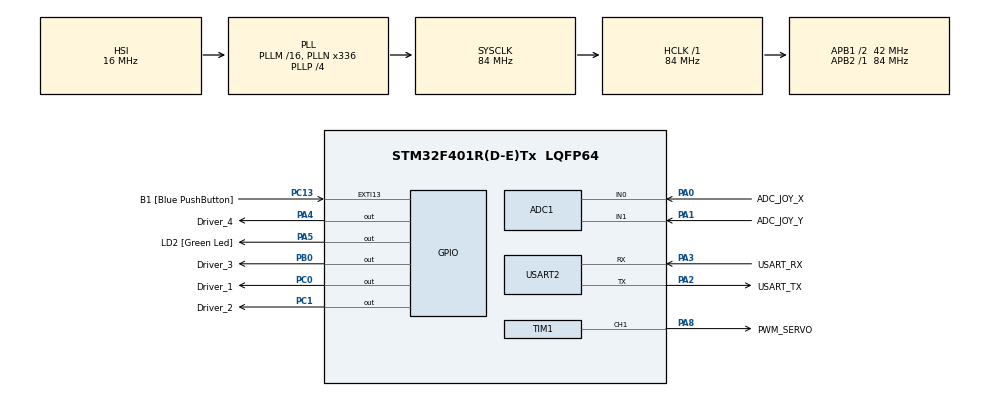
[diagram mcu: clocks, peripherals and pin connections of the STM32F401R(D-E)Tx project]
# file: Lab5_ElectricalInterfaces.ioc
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ADC1.Channel-0\#ChannelRegularConversion=ADC_CHANNEL_0
ADC1.Channel-1\#ChannelRegularConversion=ADC_CHANNEL_1
ADC1.ContinuousConvMode=ENABLE
ADC1.NbrOfConversion=2
ADC1.NbrOfConversionFlag=1
ADC1.Rank-0\#ChannelRegularConversion=1
ADC1.Rank-1\#ChannelRegularConversion=2
ADC1.SamplingTime-0\#ChannelRegularConversion=ADC_SAMPLETIME_480CYCLES
ADC1.SamplingTime-1\#ChannelRegularConversion=ADC_SAMPLETIME_480CYCLES
ADC1.ScanConvMode=ENABLE
ADC1.master=1
Mcu.Family=STM32F4
Mcu.Name=STM32F401R(D-E)Tx
Mcu.Package=LQFP64
NVIC.ADC_IRQn=true\:0\:0\:false\:false\:true\:true\:true
NVIC.PriorityGroup=NVIC_PRIORITYGROUP_0
PA0-WKUP.GPIO_Label=ADC_JOY_X
PA0-WKUP.Signal=ADCx_IN0
PA1.GPIO_Label=ADC_JOY_Y
PA1.Signal=ADCx_IN1
PA13.GPIO_Label=TMS
PA13.Mode=Serial_Wire
PA13.Signal=SYS_JTMS-SWDIO
PA14.GPIO_Label=TCK
PA14.Mode=Serial_Wire
PA14.Signal=SYS_JTCK-SWCLK
PA2.GPIO_Label=USART_TX
PA2.GPIO_Mode=GPIO_MODE_AF_PP
PA2.GPIO_PuPd=GPIO_NOPULL
PA2.GPIO_Speed=GPIO_SPEED_FREQ_LOW
PA2.Mode=Asynchronous
PA2.Signal=USART2_TX
PA3.GPIO_Label=USART_RX
PA3.GPIO_Mode=GPIO_MODE_AF_PP
PA3.GPIO_PuPd=GPIO_NOPULL
PA3.GPIO_Speed=GPIO_SPEED_FREQ_LOW
PA3.Mode=Asynchronous
PA3.Signal=USART2_RX
PA4.GPIO_Label=Driver_4
PA4.Signal=GPIO_Output
PA5.GPIO_Label=LD2 [Green Led]
PA5.GPIO_Mode=GPIO_MODE_OUTPUT_PP
PA5.GPIO_PuPd=GPIO_NOPULL
PA5.GPIO_Speed=GPIO_SPEED_FREQ_LOW
PA5.Signal=GPIO_Output
PA8.GPIO_Label=PWM_SERVO
PA8.Signal=S_TIM1_CH1
PB0.GPIO_Label=Driver_3
PB0.Signal=GPIO_Output
PB3.GPIO_Label=SWO
PB3.Signal=SYS_JTDO-SWO
PC0.GPIO_Label=Driver_1
PC0.Signal=GPIO_Output
PC1.GPIO_Label=Driver_2
PC1.Signal=GPIO_Output
PC13-ANTI_TAMP.GPIO_Label=B1 [Blue PushButton]
PC13-ANTI_TAMP.GPIO_ModeDefaultEXTI=GPIO_MODE_IT_FALLING
PC13-ANTI_TAMP.GPIO_PuPd=GPIO_NOPULL
PC13-ANTI_TAMP.Signal=GPXTI13
PC14-OSC32_IN.Mode=LSE-External-Oscillator
PC14-OSC32_IN.Signal=RCC_OSC32_IN
PC15-OSC32_OUT.Mode=LSE-External-Oscillator
PC15-OSC32_OUT.Signal=RCC_OSC32_OUT
PH0\ -\ OSC_IN.Mode=HSE-External-Clock-Source
PH0\ -\ OSC_IN.Signal=RCC_OSC_IN
PH1\ -\ OSC_OUT.Mode=HSE-External-Clock-Source
PH1\ -\ OSC_OUT.Signal=RCC_OSC_OUT
ProjectManager.HeapSize=0x200
ProjectManager.StackSize=0x400
ProjectManager.TargetToolchain=STM32CubeIDE
RCC.48MHZClocksFreq_Value=48000000
RCC.AHBFreq_Value=84000000
RCC.APB1CLKDivider=RCC_HCLK_DIV2
RCC.APB1Freq_Value=42000000
RCC.APB1TimFreq_Value=84000000
RCC.APB2Freq_Value=84000000
RCC.APB2TimFreq_Value=84000000
RCC.CortexFreq_Value=84000000
RCC.HCLKFreq_Value=84000000
RCC.HSE_VALUE=8000000
RCC.HSI_VALUE=16000000
RCC.PLLN=336
RCC.PLLP=RCC_PLLP_DIV4
RCC.PLLQ=7
RCC.SYSCLKFreq_VALUE=84000000
RCC.SYSCLKSource=RCC_SYSCLKSOURCE_PLLCLK
RCC.VCOOutputFreq_Value=336000000
SH.ADCx_IN0.0=ADC1_IN0,IN0
SH.ADCx_IN1.0=ADC1_IN1,IN1
SH.S_TIM1_CH1.0=TIM1_CH1,PWM Generation1 CH1
TIM1.Channel-PWM\ Generation1\ CH1=TIM_CHANNEL_1
TIM1.Period=64615
TIM1.Prescaler=25
TIM1.Pulse-PWM\ Generation1\ CH1=4846
USART2.VirtualMode=VM_ASYNC
VP_TIM1_VS_ClockSourceINT.Mode=Internal
board=NUCLEO-F401RE

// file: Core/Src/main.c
/* USER CODE BEGIN Header */
/**
  ******************************************************************************
  * @file           : main.c
  * @brief          : Main program body
  ******************************************************************************
  * @attention
  *
  * <h2><center>&copy; Copyright (c) 2020 STMicroelectronics.
  * All rights reserved.</center></h2>
  *
  * This software component is licensed by ST under BSD 3-Clause license,
  * the "License"; You may not use this file except in compliance with the
  * License. You may obtain a copy of the License at:
  *                        opensource.org/licenses/BSD-3-Clause
  *
  ******************************************************************************
  */
/* USER CODE END Header */
#include "main.h"

ADC_HandleTypeDef hadc1;

TIM_HandleTypeDef htim1;

UART_HandleTypeDef huart2;

/* USER CODE BEGIN PV */
int channel_1 = 0, channel_2=0;
int8_t direction;
int state = 0;

/* USER CODE END PV */

void SystemClock_Config(void);
static void MX_GPIO_Init(void);
static void MX_USART2_UART_Init(void);
static void MX_ADC1_Init(void);
static void MX_TIM1_Init(void);

/* USER CODE BEGIN 0 */

void setPulseWidth(float time){
	// calculate PWM value
	float pwm_time = 0;
	int new_pwm_val = 0;
	int max_val = 8076;

	// check if values are outside of range
	if(time < 0.5)
		pwm_time = 0.5;
	if(time > 2.5)
		pwm_time = 2.5;
	else
		pwm_time = time;

	// calculate new value
	float percentDutyCycle = pwm_time/2.5;
	new_pwm_val = percentDutyCycle * max_val;

	// update pwm
	__HAL_TIM_SET_COMPARE(&htim1, TIM_CHANNEL_1, new_pwm_val);
	//HAL_Delay(200);
}

void directionStepper(){
	// channel 1

	if(channel_1 > 3000)
		direction +=1;
	if(channel_1 < 1000)
		direction -=1;
}

void stepperMove(){

	directionStepper();

	state = direction%8+1;

	switch(state){
	case 1:
		// orange
		HAL_GPIO_WritePin(Driver_4_GPIO_Port, Driver_4_Pin, SET);

		HAL_GPIO_WritePin(Driver_1_GPIO_Port, Driver_1_Pin, RESET);
		HAL_GPIO_WritePin(Driver_2_GPIO_Port, Driver_2_Pin, RESET);
		HAL_GPIO_WritePin(Driver_3_GPIO_Port, Driver_3_Pin, RESET);
		break;
	case 2:
		// orange and yellow
		HAL_GPIO_WritePin(Driver_4_GPIO_Port, Driver_4_Pin, SET);
		HAL_GPIO_WritePin(Driver_3_GPIO_Port, Driver_3_Pin, SET);

		HAL_GPIO_WritePin(Driver_1_GPIO_Port, Driver_1_Pin, RESET);
		HAL_GPIO_WritePin(Driver_2_GPIO_Port, Driver_2_Pin, RESET);
		break;
	case 3:
		// yellow
		HAL_GPIO_WritePin(Driver_3_GPIO_Port, Driver_3_Pin, SET);

		HAL_GPIO_WritePin(Driver_1_GPIO_Port, Driver_1_Pin, RESET);
		HAL_GPIO_WritePin(Driver_4_GPIO_Port, Driver_4_Pin, RESET);
		HAL_GPIO_WritePin(Driver_2_GPIO_Port, Driver_2_Pin, RESET);

		break;
	case 4:
		// yellow and pink
		HAL_GPIO_WritePin(Driver_3_GPIO_Port, Driver_3_Pin, SET);
		HAL_GPIO_WritePin(Driver_2_GPIO_Port, Driver_2_Pin, SET);

		HAL_GPIO_WritePin(Driver_1_GPIO_Port, Driver_1_Pin, RESET);
		HAL_GPIO_WritePin(Driver_4_GPIO_Port, Driver_4_Pin, RESET);

		break;
	case 5:
		// pink
		HAL_GPIO_WritePin(Driver_2_GPIO_Port, Driver_2_Pin, SET);

		HAL_GPIO_WritePin(Driver_1_GPIO_Port, Driver_1_Pin, RESET);
		HAL_GPIO_WritePin(Driver_3_GPIO_Port, Driver_3_Pin, RESET);
		HAL_GPIO_WritePin(Driver_4_GPIO_Port, Driver_4_Pin, RESET);

		break;
	case 6:
		// pink and blue
		HAL_GPIO_WritePin(Driver_2_GPIO_Port, Driver_2_Pin, SET);
		HAL_GPIO_WritePin(Driver_1_GPIO_Port, Driver_1_Pin, SET);

		HAL_GPIO_WritePin(Driver_3_GPIO_Port, Driver_3_Pin, RESET);
		HAL_GPIO_WritePin(Driver_4_GPIO_Port, Driver_4_Pin, RESET);

		break;
	case 7:
		// blue
		HAL_GPIO_WritePin(Driver_1_GPIO_Port, Driver_1_Pin, SET);

		HAL_GPIO_WritePin(Driver_3_GPIO_Port, Driver_3_Pin, RESET);
		HAL_GPIO_WritePin(Driver_4_GPIO_Port, Driver_4_Pin, RESET);
		HAL_GPIO_WritePin(Driver_2_GPIO_Port, Driver_2_Pin, RESET);

		break;
	case 8:
		// orange and blue
		HAL_GPIO_WritePin(Driver_1_GPIO_Port, Driver_1_Pin, SET);
		HAL_GPIO_WritePin(Driver_4_GPIO_Port, Driver_4_Pin, SET);

		HAL_GPIO_WritePin(Driver_3_GPIO_Port, Driver_3_Pin, RESET);
		HAL_GPIO_WritePin(Driver_2_GPIO_Port, Driver_2_Pin, RESET);

		break;
	default:
		// all pins low
		HAL_GPIO_WritePin(Driver_1_GPIO_Port, Driver_1_Pin, RESET);
		HAL_GPIO_WritePin(Driver_4_GPIO_Port, Driver_4_Pin, RESET);
		HAL_GPIO_WritePin(Driver_3_GPIO_Port, Driver_3_Pin, RESET);
		HAL_GPIO_WritePin(Driver_2_GPIO_Port, Driver_2_Pin, RESET);
		break;
	}
}

float scaleADCVal(){
	// lowest = 0.5 and highest = 2.5
	float min = 0.5;
	float max = 2.5;

	float scaled = ((max - min) * (channel_2 - 10)) / (4000 - 10)+min;

	return scaled;
}

void RCServo(){
	float time = scaleADCVal();
	setPulseWidth(time);
}

void joystickADC(){
	HAL_ADC_Start(&hadc1);
	if(HAL_ADC_PollForConversion(&hadc1, HAL_MAX_DELAY) == HAL_OK){
		channel_1 = HAL_ADC_GetValue(&hadc1);
		if(HAL_ADC_PollForConversion(&hadc1, HAL_MAX_DELAY) == HAL_OK){
				channel_2 = HAL_ADC_GetValue(&hadc1);
			}
	}
	HAL_ADC_Stop(&hadc1);
}

void cameraPanTilt(){
	joystickADC();
	stepperMove();
	HAL_Delay(1);
	RCServo();
}

/* USER CODE END 0 */

int main(void)
{

  /* MCU Configuration--------------------------------------------------------*/

  /* Reset of all peripherals, Initializes the Flash interface and the Systick. */
  HAL_Init();

  /* Configure the system clock */
  SystemClock_Config();

  /* Initialize all configured peripherals */
  MX_GPIO_Init();
  MX_USART2_UART_Init();
  MX_ADC1_Init();
  MX_TIM1_Init();
  /* USER CODE BEGIN 2 */
  HAL_TIM_PWM_Start(&htim1, TIM_CHANNEL_1);

  /* USER CODE END 2 */

  /* Infinite loop */
  /* USER CODE BEGIN WHILE */
  while (1)
  {
	  cameraPanTilt();
    /* USER CODE END WHILE */

  }
}

void SystemClock_Config(void)
{
  RCC_OscInitTypeDef RCC_OscInitStruct = {0};
  RCC_ClkInitTypeDef RCC_ClkInitStruct = {0};

  /** Configure the main internal regulator output voltage
  */
  __HAL_RCC_PWR_CLK_ENABLE();
  __HAL_PWR_VOLTAGESCALING_CONFIG(PWR_REGULATOR_VOLTAGE_SCALE2);
  /** Initializes the RCC Oscillators according to the specified parameters
  * in the RCC_OscInitTypeDef structure.
  */
  RCC_OscInitStruct.OscillatorType = RCC_OSCILLATORTYPE_HSI;
  RCC_OscInitStruct.HSIState = RCC_HSI_ON;
  RCC_OscInitStruct.HSICalibrationValue = RCC_HSICALIBRATION_DEFAULT;
  RCC_OscInitStruct.PLL.PLLState = RCC_PLL_ON;
  RCC_OscInitStruct.PLL.PLLSource = RCC_PLLSOURCE_HSI;
  RCC_OscInitStruct.PLL.PLLM = 16;
  RCC_OscInitStruct.PLL.PLLN = 336;
  RCC_OscInitStruct.PLL.PLLP = RCC_PLLP_DIV4;
  RCC_OscInitStruct.PLL.PLLQ = 7;
  if (HAL_RCC_OscConfig(&RCC_OscInitStruct) != HAL_OK)
  {
    Error_Handler();
  }
  /** Initializes the CPU, AHB and APB buses clocks
  */
  RCC_ClkInitStruct.ClockType = RCC_CLOCKTYPE_HCLK|RCC_CLOCKTYPE_SYSCLK
                              |RCC_CLOCKTYPE_PCLK1|RCC_CLOCKTYPE_PCLK2;
  RCC_ClkInitStruct.SYSCLKSource = RCC_SYSCLKSOURCE_PLLCLK;
  RCC_ClkInitStruct.AHBCLKDivider = RCC_SYSCLK_DIV1;
  RCC_ClkInitStruct.APB1CLKDivider = RCC_HCLK_DIV2;
  RCC_ClkInitStruct.APB2CLKDivider = RCC_HCLK_DIV1;

  if (HAL_RCC_ClockConfig(&RCC_ClkInitStruct, FLASH_LATENCY_2) != HAL_OK)
  {
    Error_Handler();
  }
}

static void MX_ADC1_Init(void)
{

  ADC_ChannelConfTypeDef sConfig = {0};

  /** Configure the global features of the ADC (Clock, Resolution, Data Alignment and number of conversion)
  */
  hadc1.Instance = ADC1;
  hadc1.Init.ClockPrescaler = ADC_CLOCK_SYNC_PCLK_DIV4;
  hadc1.Init.Resolution = ADC_RESOLUTION_12B;
  hadc1.Init.ScanConvMode = ENABLE;
  hadc1.Init.ContinuousConvMode = ENABLE;
  hadc1.Init.DiscontinuousConvMode = DISABLE;
  hadc1.Init.ExternalTrigConvEdge = ADC_EXTERNALTRIGCONVEDGE_NONE;
  hadc1.Init.ExternalTrigConv = ADC_SOFTWARE_START;
  hadc1.Init.DataAlign = ADC_DATAALIGN_RIGHT;
  hadc1.Init.NbrOfConversion = 2;
  hadc1.Init.DMAContinuousRequests = DISABLE;
  hadc1.Init.EOCSelection = ADC_EOC_SINGLE_CONV;
  if (HAL_ADC_Init(&hadc1) != HAL_OK)
  {
    Error_Handler();
  }
  /** Configure for the selected ADC regular channel its corresponding rank in the sequencer and its sample time.
  */
  sConfig.Channel = ADC_CHANNEL_0;
  sConfig.Rank = 1;
  sConfig.SamplingTime = ADC_SAMPLETIME_480CYCLES;
  if (HAL_ADC_ConfigChannel(&hadc1, &sConfig) != HAL_OK)
  {
    Error_Handler();
  }
  /** Configure for the selected ADC regular channel its corresponding rank in the sequencer and its sample time.
  */
  sConfig.Channel = ADC_CHANNEL_1;
  sConfig.Rank = 2;
  if (HAL_ADC_ConfigChannel(&hadc1, &sConfig) != HAL_OK)
  {
    Error_Handler();
  }

}

static void MX_TIM1_Init(void)
{

  TIM_ClockConfigTypeDef sClockSourceConfig = {0};
  TIM_MasterConfigTypeDef sMasterConfig = {0};
  TIM_OC_InitTypeDef sConfigOC = {0};
  TIM_BreakDeadTimeConfigTypeDef sBreakDeadTimeConfig = {0};

  htim1.Instance = TIM1;
  htim1.Init.Prescaler = 25;
  htim1.Init.CounterMode = TIM_COUNTERMODE_UP;
  htim1.Init.Period = 64615;
  htim1.Init.ClockDivision = TIM_CLOCKDIVISION_DIV1;
  htim1.Init.RepetitionCounter = 0;
  htim1.Init.AutoReloadPreload = TIM_AUTORELOAD_PRELOAD_DISABLE;
  if (HAL_TIM_Base_Init(&htim1) != HAL_OK)
  {
    Error_Handler();
  }
  sClockSourceConfig.ClockSource = TIM_CLOCKSOURCE_INTERNAL;
  if (HAL_TIM_ConfigClockSource(&htim1, &sClockSourceConfig) != HAL_OK)
  {
    Error_Handler();
  }
  if (HAL_TIM_PWM_Init(&htim1) != HAL_OK)
  {
    Error_Handler();
  }
  sMasterConfig.MasterOutputTrigger = TIM_TRGO_RESET;
  sMasterConfig.MasterSlaveMode = TIM_MASTERSLAVEMODE_DISABLE;
  if (HAL_TIMEx_MasterConfigSynchronization(&htim1, &sMasterConfig) != HAL_OK)
  {
    Error_Handler();
  }
  sConfigOC.OCMode = TIM_OCMODE_PWM1;
  sConfigOC.Pulse = 4846;
  sConfigOC.OCPolarity = TIM_OCPOLARITY_HIGH;
  sConfigOC.OCNPolarity = TIM_OCNPOLARITY_HIGH;
  sConfigOC.OCFastMode = TIM_OCFAST_DISABLE;
  sConfigOC.OCIdleState = TIM_OCIDLESTATE_RESET;
  sConfigOC.OCNIdleState = TIM_OCNIDLESTATE_RESET;
  if (HAL_TIM_PWM_ConfigChannel(&htim1, &sConfigOC, TIM_CHANNEL_1) != HAL_OK)
  {
    Error_Handler();
  }
  sBreakDeadTimeConfig.OffStateRunMode = TIM_OSSR_DISABLE;
  sBreakDeadTimeConfig.OffStateIDLEMode = TIM_OSSI_DISABLE;
  sBreakDeadTimeConfig.LockLevel = TIM_LOCKLEVEL_OFF;
  sBreakDeadTimeConfig.DeadTime = 0;
  sBreakDeadTimeConfig.BreakState = TIM_BREAK_DISABLE;
  sBreakDeadTimeConfig.BreakPolarity = TIM_BREAKPOLARITY_HIGH;
  sBreakDeadTimeConfig.AutomaticOutput = TIM_AUTOMATICOUTPUT_DISABLE;
  if (HAL_TIMEx_ConfigBreakDeadTime(&htim1, &sBreakDeadTimeConfig) != HAL_OK)
  {
    Error_Handler();
  }
  HAL_TIM_MspPostInit(&htim1);

}

static void MX_USART2_UART_Init(void)
{

  huart2.Instance = USART2;
  huart2.Init.BaudRate = 115200;
  huart2.Init.WordLength = UART_WORDLENGTH_8B;
  huart2.Init.StopBits = UART_STOPBITS_1;
  huart2.Init.Parity = UART_PARITY_NONE;
  huart2.Init.Mode = UART_MODE_TX_RX;
  huart2.Init.HwFlowCtl = UART_HWCONTROL_NONE;
  huart2.Init.OverSampling = UART_OVERSAMPLING_16;
  if (HAL_UART_Init(&huart2) != HAL_OK)
  {
    Error_Handler();
  }

}

static void MX_GPIO_Init(void)
{
  GPIO_InitTypeDef GPIO_InitStruct = {0};

  /* GPIO Ports Clock Enable */
  __HAL_RCC_GPIOC_CLK_ENABLE();
  __HAL_RCC_GPIOH_CLK_ENABLE();
  __HAL_RCC_GPIOA_CLK_ENABLE();
  __HAL_RCC_GPIOB_CLK_ENABLE();

  /*Configure GPIO pin Output Level */
  HAL_GPIO_WritePin(GPIOC, Driver_1_Pin|Driver_2_Pin, GPIO_PIN_RESET);

  /*Configure GPIO pin Output Level */
  HAL_GPIO_WritePin(GPIOA, Driver_4_Pin|LD2_Pin, GPIO_PIN_RESET);

  /*Configure GPIO pin Output Level */
  HAL_GPIO_WritePin(Driver_3_GPIO_Port, Driver_3_Pin, GPIO_PIN_RESET);

  /*Configure GPIO pin : B1_Pin */
  GPIO_InitStruct.Pin = B1_Pin;
  GPIO_InitStruct.Mode = GPIO_MODE_IT_FALLING;
  GPIO_InitStruct.Pull = GPIO_NOPULL;
  HAL_GPIO_Init(B1_GPIO_Port, &GPIO_InitStruct);

  /*Configure GPIO pins : Driver_1_Pin Driver_2_Pin */
  GPIO_InitStruct.Pin = Driver_1_Pin|Driver_2_Pin;
  GPIO_InitStruct.Mode = GPIO_MODE_OUTPUT_PP;
  GPIO_InitStruct.Pull = GPIO_NOPULL;
  GPIO_InitStruct.Speed = GPIO_SPEED_FREQ_LOW;
  HAL_GPIO_Init(GPIOC, &GPIO_InitStruct);

  /*Configure GPIO pins : Driver_4_Pin LD2_Pin */
  GPIO_InitStruct.Pin = Driver_4_Pin|LD2_Pin;
  GPIO_InitStruct.Mode = GPIO_MODE_OUTPUT_PP;
  GPIO_InitStruct.Pull = GPIO_NOPULL;
  GPIO_InitStruct.Speed = GPIO_SPEED_FREQ_LOW;
  HAL_GPIO_Init(GPIOA, &GPIO_InitStruct);

  /*Configure GPIO pin : Driver_3_Pin */
  GPIO_InitStruct.Pin = Driver_3_Pin;
  GPIO_InitStruct.Mode = GPIO_MODE_OUTPUT_PP;
  GPIO_InitStruct.Pull = GPIO_NOPULL;
  GPIO_InitStruct.Speed = GPIO_SPEED_FREQ_LOW;
  HAL_GPIO_Init(Driver_3_GPIO_Port, &GPIO_InitStruct);

}

void Error_Handler(void)
{
  __disable_irq();
  while (1)
  {
  }
}

/************************ (C) COPYRIGHT STMicroelectronics *****END OF FILE****/
